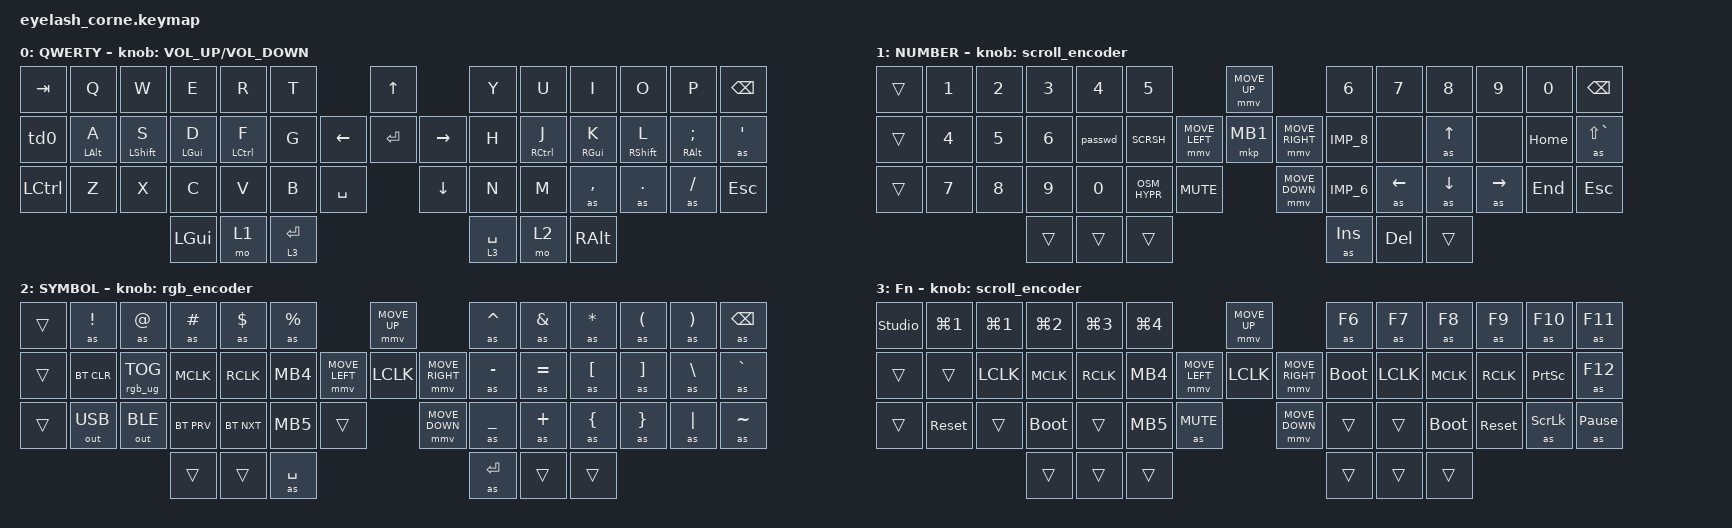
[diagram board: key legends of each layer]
#include <dt-bindings/zmk/mouse.h>
#include <input/processors.dtsi>
#include <behaviors.dtsi>
#include <dt-bindings/zmk/bt.h>
#include <dt-bindings/zmk/keys.h>
#include <dt-bindings/zmk/outputs.h>
#include <dt-bindings/zmk/pointing.h>
#include <dt-bindings/zmk/rgb.h>

/*

   &mmv_input_listener {
       input-processors = <&zip_xy_scaler 2 1>;
   };

   &msc_input_listener {
       input-processors = <&zip_xy_scaler 2 1>;
   };

 */

#define ZMK_MOUSE_DEFAULT_MOVE_VAL 1200  // 600
#define ZMK_MOUSE_DEFAULT_SCRL_VAL 20    // 10

/ {
    behaviors {
        td0: td0 {
            compatible = "zmk,behavior-tap-dance";
            display-name = "Shift/Caps Lock Tap Dance";
            #binding-cells = <0>;
            bindings = <&kp LEFT_SHIFT>, <&kp CAPS>;
        };

        hml: hml {
            compatible = "zmk,behavior-hold-tap";
            label = "HML";
            bindings = <&kp>, <&kp>;

            #binding-cells = <2>;
            tapping-term-ms = <280>;
            quick-tap-ms = <175>;
            require-prior-idle-ms = <150>;
            flavor = "balanced";
            hold-trigger-on-release;
            hold-trigger-key-positions = <1 0 2 3 4 5 13 14 15 16 17 18 28 29 30 31 32 33 42 43 44>;
        };

        hmr: hmr {
            compatible = "zmk,behavior-hold-tap";
            label = "HMR";
            bindings = <&kp>, <&kp>;

            #binding-cells = <2>;
            tapping-term-ms = <280>;
            quick-tap-ms = <175>;
            require-prior-idle-ms = <150>;
            flavor = "balanced";
            hold-trigger-on-release;
            hold-trigger-key-positions = <7 8 9 10 11 12 22 23 24 25 26 27 36 37 38 39 40 41 46 45 47>;
        };

        as_ht: autoshift_hold_tap {
            compatible = "zmk,behavior-hold-tap";
            label = "AUTOSHIFT_HOLD_TAP";
            #binding-cells = <2>;
            tapping-term-ms = <135>;
            flavor = "tap-preferred";
            bindings = <&shifted>, <&kp>;
        };
    };

    rgb_encoder: rgb_encoder {
        compatible = "zmk,behavior-sensor-rotate";
        #sensor-binding-cells = <0>;
        bindings = <&rgb_ug RGB_BRI>, <&rgb_ug RGB_BRD>;
    };

    scroll_encoder: scroll_encoder {
        compatible = "zmk,behavior-sensor-rotate";
        #sensor-binding-cells = <0>;
        bindings = <&msc SCRL_DOWN>, <&msc SCRL_UP>;

        tap-ms = <30>;
    };

    macros {
        passwd: passwd {
            compatible = "zmk,behavior-macro";
            #binding-cells = <0>;
            bindings = <&OSM_HYPR &kp P>;
            label = "PASSWD";
        };

        SCRSH: SCRSH {
            compatible = "zmk,behavior-macro";
            #binding-cells = <0>;
            bindings = <&OSM_HYPR &kp S>;
            label = "SCRSH";
        };

        OSM_HYPR: OSM_HYPR {
            compatible = "zmk,behavior-macro";
            #binding-cells = <0>;
            bindings = <&sk LS(LA(LC(LGUI)))>;
            label = "OSM_HYPR";
        };

        IMP_8: IMP_8 {
            compatible = "zmk,behavior-macro";
            #binding-cells = <0>;
            bindings = <&none>;
            label = "IMP_8";
        };

        IMP_6: IMP_6 {
            compatible = "zmk,behavior-macro";
            #binding-cells = <0>;
            bindings = <&none>;
            label = "IMP_6";
        };

        shifted: macro_shifted_kp {
            #binding-cells = <1>;
            label = "MACRO_SHIFTED_KP";
            compatible = "zmk,behavior-macro-one-param";
            bindings =
                <&macro_press>,
                <&kp LSHFT &macro_param_1to1>,
                <&macro_tap>,
                <&kp MACRO_PLACEHOLDER>,
                <&macro_release>,
                <&kp LSHFT>;
        };

        as: autoshift {
            compatible = "zmk,behavior-macro-one-param";
            #binding-cells = <1>;
            label = "AUTOSHIFT_KP";
            bindings =
                <&macro_press>,
                <&macro_param_1to1 &macro_param_1to2 &as_ht MACRO_PLACEHOLDER MACRO_PLACEHOLDER>,
                <&macro_pause_for_release>,
                <&macro_release>,
                <&macro_param_1to1 &macro_param_1to2 &as_ht MACRO_PLACEHOLDER MACRO_PLACEHOLDER>;
        };
    };

    keymap {
        compatible = "zmk,keymap";

        default_layer {
            display-name = "QWERTY";
            bindings = <
&kp TAB    &kp Q            &kp W              &kp E            &kp R                &kp T                               &kp UP                &kp Y        &kp U                 &kp I             &kp O               &kp P                &kp BSPC
&td0       &hml LEFT_ALT A  &hml LEFT_SHIFT S  &hml LEFT_GUI D  &hml LEFT_CONTROL F  &kp G                     &kp LEFT  &kp ENTER  &kp RIGHT  &kp H        &hmr RIGHT_CONTROL J  &hmr RIGHT_GUI K  &hmr RIGHT_SHIFT L  &hmr RIGHT_ALT SEMI  &as SQT
&kp LCTRL  &kp Z            &kp X              &kp C            &kp V                &kp B        &kp SPACE              &kp DOWN              &kp N        &kp M                 &as COMMA         &as DOT             &as FSLH             &kp ESC
                                               &kp LGUI         &mo 1                &lt 3 ENTER                                               &lt 3 SPACE  &mo 2                 &kp RALT
            >;

            sensor-bindings = <&inc_dec_kp C_VOLUME_UP C_VOLUME_DOWN>;
        };

        lower_layer {
            display-name = "NUMBER";
            bindings = <
&trans  &kp N1  &kp N2  &kp N3  &kp N4   &kp N5                                   &mmv MOVE_UP                     &kp N6   &kp N7    &kp N8    &kp N9     &kp N0    &kp BSPC
&trans  &kp N4  &kp N5  &kp N6  &passwd  &SCRSH                   &mmv MOVE_LEFT  &mkp MB1        &mmv MOVE_RIGHT  &IMP_8   &none     &as UP    &none      &kp HOME  &as LS(GRAVE)
&trans  &kp N7  &kp N8  &kp N9  &kp N0   &OSM_HYPR  &kp C_MUTE                    &mmv MOVE_DOWN                   &IMP_6   &as LEFT  &as DOWN  &as RIGHT  &kp END   &kp ESC
                        &trans  &trans   &trans                                                                    &as INS  &kp DEL   &trans
            >;

            sensor-bindings = <&scroll_encoder>;
        };

        raise_layer {
            display-name = "SYMBOL";
            bindings = <
&trans  &as EXCL      &as AT           &as HASH    &as DLLR    &as PRCNT                            &mmv MOVE_UP                     &as CARET  &as AMPS   &as ASTRK  &as LPAR  &as RPAR  &as BSPC
&trans  &bt BT_CLR    &rgb_ug RGB_TOG  &kp MCLK    &kp RCLK    &kp MB4              &mmv MOVE_LEFT  &kp LCLK        &mmv MOVE_RIGHT  &as MINUS  &as EQUAL  &as LBKT   &as RBKT  &as BSLH  &as GRAVE
&trans  &out OUT_USB  &out OUT_BLE     &bt BT_PRV  &bt BT_NXT  &kp MB5    &trans                    &mmv MOVE_DOWN                   &as UNDER  &as PLUS   &as LBRC   &as RBRC  &as PIPE  &as TILDE
                                       &trans      &trans      &as SPACE                                                             &as RET    &trans     &trans
            >;

            sensor-bindings = <&rgb_encoder>;
        };

        layer_3 {
            display-name = "Fn";
            bindings = <
&studio_unlock  &kp LG(NUMBER_1)  &kp LG(N1)  &kp LG(N2)   &kp LG(N3)  &kp LG(N4)                                &mmv MOVE_UP                     &as F6       &as F7    &as F8       &as F9      &as F10          &as F11
&trans          &trans            &kp LCLK    &kp MCLK     &kp RCLK    &kp MB4                   &mmv MOVE_LEFT  &kp LCLK        &mmv MOVE_RIGHT  &bootloader  &kp LCLK  &kp MCLK     &kp RCLK    &kp PRINTSCREEN  &as F12
&trans          &sys_reset        &trans      &bootloader  &trans      &kp MB5     &as C_MUTE                    &mmv MOVE_DOWN                   &trans       &trans    &bootloader  &sys_reset  &as SCROLLLOCK   &as PAUSE_BREAK
                                              &trans       &trans      &trans                                                                     &trans       &trans    &trans
            >;

            sensor-bindings = <&scroll_encoder>;
        };
    };
};
